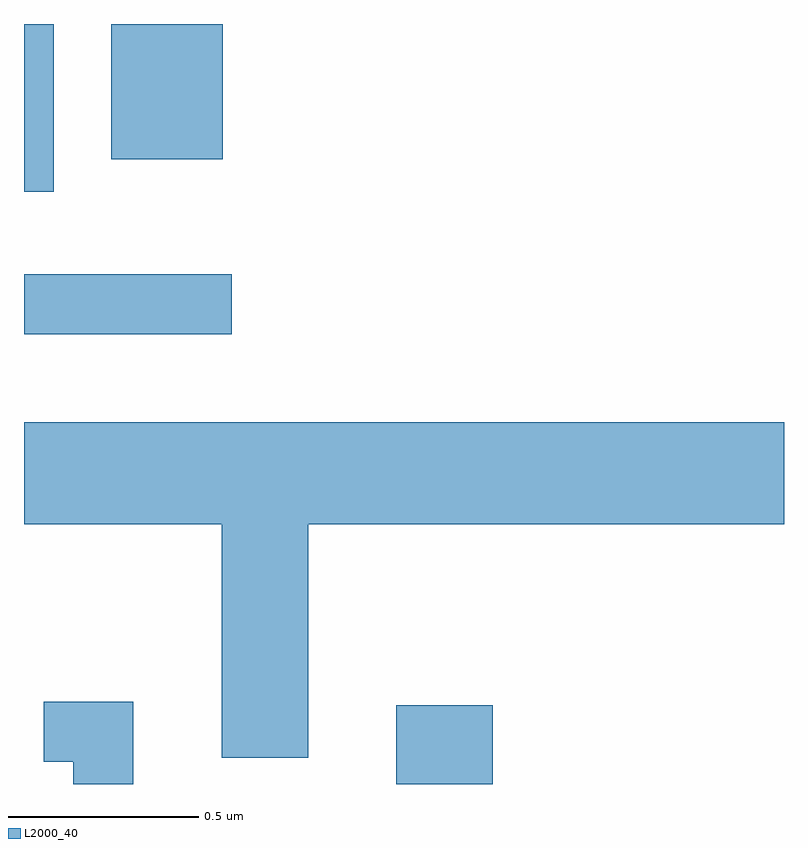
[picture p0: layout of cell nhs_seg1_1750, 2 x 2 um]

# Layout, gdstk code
import gdstk
lib = gdstk.Library(unit=1e-6, precision=1e-09)
def R(c, l, rs):  # rectangles x0, y0, x1, y1
    for r in rs: c.add(gdstk.rectangle(r[:2], r[2:], *l))
def P(c, l, *ps):  # polygons
    for p in ps: c.add(gdstk.Polygon(p, *l))
L2000_40 = (2000, 40)

nhs_seg1_1750 = lib.new_cell('nhs_seg1_1750')
R(nhs_seg1_1750, L2000_40, [(198.591,967.712,198.844,967.919), (197.611,968.896,198.158,969.054), (197.611,969.271,197.689,969.712), (197.841,969.356,198.134,969.712)])
P(nhs_seg1_1750, L2000_40, [(198.359,968.396),(199.611,968.396),(199.611,968.664),(197.611,968.664),(197.611,968.396),(198.131,968.396),(198.131,967.781),(198.359,967.781)],
  [(197.899,967.929),(197.663,967.929),(197.663,967.771),(197.741,967.771),(197.741,967.712),(197.899,967.712)])

lib.write_gds('nhs_seg1_1750.gds')
